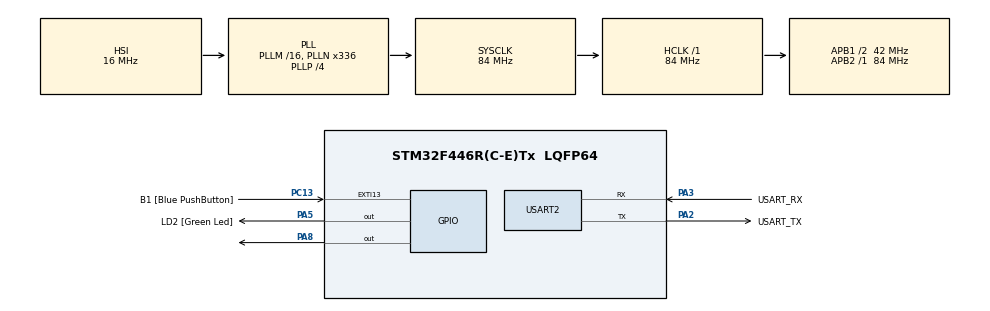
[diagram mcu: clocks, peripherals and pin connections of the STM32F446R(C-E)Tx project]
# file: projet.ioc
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Mcu.Family=STM32F4
Mcu.Name=STM32F446R(C-E)Tx
Mcu.Package=LQFP64
NVIC.PriorityGroup=NVIC_PRIORITYGROUP_0
PA13.GPIO_Label=TMS
PA13.Mode=Serial_Wire
PA13.Signal=SYS_JTMS-SWDIO
PA14.GPIO_Label=TCK
PA14.Mode=Serial_Wire
PA14.Signal=SYS_JTCK-SWCLK
PA2.GPIO_Label=USART_TX
PA2.Mode=Asynchronous
PA2.Signal=USART2_TX
PA3.GPIO_Label=USART_RX
PA3.Mode=Asynchronous
PA3.Signal=USART2_RX
PA5.GPIO_Label=LD2 [Green Led]
PA5.Signal=GPIO_Output
PA8.Signal=GPIO_Output
PB3.GPIO_Label=SWO
PB3.Signal=SYS_JTDO-SWO
PC13.GPIO_Label=B1 [Blue PushButton]
PC13.GPIO_ModeDefaultEXTI=GPIO_MODE_IT_FALLING
PC13.Signal=GPXTI13
PC14-OSC32_IN.Mode=LSE-External-Oscillator
PC14-OSC32_IN.Signal=RCC_OSC32_IN
PC15-OSC32_OUT.Mode=LSE-External-Oscillator
PC15-OSC32_OUT.Signal=RCC_OSC32_OUT
PH0-OSC_IN.Mode=HSE-External-Oscillator
PH0-OSC_IN.Signal=RCC_OSC_IN
PH1-OSC_OUT.Mode=HSE-External-Oscillator
PH1-OSC_OUT.Signal=RCC_OSC_OUT
ProjectManager.HeapSize=0x200
ProjectManager.StackSize=0x400
ProjectManager.TargetToolchain=STM32CubeIDE
RCC.48MHZClocksFreq_Value=84000000
RCC.AHBFreq_Value=84000000
RCC.APB1CLKDivider=RCC_HCLK_DIV2
RCC.APB1Freq_Value=42000000
RCC.APB1TimFreq_Value=84000000
RCC.APB2Freq_Value=84000000
RCC.APB2TimFreq_Value=84000000
RCC.CortexFreq_Value=84000000
RCC.FLatency-AdvancedSettings=FLASH_LATENCY_2
RCC.HCLKFreq_Value=84000000
RCC.HSE_VALUE=8000000
RCC.HSI_VALUE=16000000
RCC.PLLN=336
RCC.PLLP=RCC_PLLP_DIV4
RCC.SYSCLKFreq_VALUE=84000000
RCC.SYSCLKSource=RCC_SYSCLKSOURCE_PLLCLK
RCC.USBFreq_Value=168000000
RCC.VCOOutputFreq_Value=336000000
USART2.VirtualMode=VM_ASYNC
board=NUCLEO-F446RE

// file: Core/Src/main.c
/* USER CODE BEGIN Header */
/**
  ******************************************************************************
  * @file           : main.c
  * @brief          : Main program body
  ******************************************************************************
  * @attention
  *
  * Copyright (c) 2024 STMicroelectronics.
  * All rights reserved.
  *
  * This software is licensed under terms that can be found in the LICENSE file
  * in the root directory of this software component.
  * If no LICENSE file comes with this software, it is provided AS-IS.
  *
  ******************************************************************************
  */
/* USER CODE END Header */
#include "main.h"
#include "ctype.h"

UART_HandleTypeDef huart2;

void SystemClock_Config(void);
static void MX_GPIO_Init(void);
static void MX_USART2_UART_Init(void);
/* USER CODE BEGIN PFP */
#ifdef __GNUC__
/* With GCC/RAISONANCE, small printf (option LD Linker->Libraries->Small printf
set to 'Yes') calls __io_putchar() */
#define PUTCHAR_PROTOTYPE int __io_putchar(int ch)
#else
#define PUTCHAR_PROTOTYPE int fputc(int ch, FILE *f)
#endif /* __GNUC__ */

PUTCHAR_PROTOTYPE {
    /* Place your implementation of fputc here */
    /* e.g. write a character to the USART2 and Loop until the end of transmission */
    HAL_UART_Transmit(&huart2, (uint8_t *)&ch, 1, 0xFFFF);
    return ch;
}

void receiveString(char *buffer, int maxLength, char escapeChar) {
    int index = 0;
    char receivedChar;

    do {
        HAL_UART_Receive(&huart2, (uint8_t *)&receivedChar, 1, HAL_MAX_DELAY);

        buffer[index] = receivedChar;
        index++;
    } while (receivedChar != escapeChar && index < maxLength - 1); // -1 pour réserver de la place pour le caractère nul

    buffer[index] = '\0'; // Ajoute le caractère nul à la fin de la chaîne
}
/* USER CODE END PFP */

// Assuming max length of received string is 100 characters
const char *char_sounds[] = {
    "._",    // A
    "_...",  // B
    "_._.",  // C
    "_..",   // D
    ".",     // E
    ".._.",  // F
    "__.",   // G
    "....",  // H
    "..",    // I
    ".___",  // J
    "_._",   // K
    "._..",  // L
    "__",    // M
    "_.",    // N
    "___",   // O
    ".__.",  // P
    "__._",  // Q
    "._.",   // R
    "...",   // S
    "_",     // T
    ".._",   // U
    "..._",  // V
    ".__",   // W
    "_.._",  // X
    "_.__",  // Y
    "__..",  // Z
    " ",     // Espace
    " ",     // Autres caractères
};

int getStringLength(const char *str) {
    int length = 0;
    while (str[length] != '\0') {
        length++;
    }
    return length;
}

void generateMorseSound(char c) {
  // Recherche de l'indice du caractère dans le tableau char_sounds
	c = toupper(c);
  int index = c - 'A';
  if (index >= 0 && index < 26) {
    // Récupération du son correspondant au caractère
    const char *sound = char_sounds[index];

    // Parcours du son caractère par caractère
    for (int i = 0; sound[i] != '\0'; i++) {
      // Génération du son en fonction du caractère
      if (sound[i] == '.') {
        HAL_GPIO_WritePin(GPIOA, GPIO_PIN_8, GPIO_PIN_SET);   // Allume le buzzer
        HAL_Delay(100);   // Durée du son court
        HAL_GPIO_WritePin(GPIOA, GPIO_PIN_8, GPIO_PIN_RESET); // Éteint le buzzer
        HAL_Delay(200);

      } else if (sound[i] == '_') {
        HAL_GPIO_WritePin(GPIOA, GPIO_PIN_8, GPIO_PIN_SET);   // Allume le buzzer
        HAL_Delay(400);   // Durée du son long
        HAL_GPIO_WritePin(GPIOA, GPIO_PIN_8, GPIO_PIN_RESET); // Éteint le buzzer
        HAL_Delay(200);   // Pause entre les sons
//        HAL_UART_Transmit(&huart2, &sound[i], 1, HAL_MAX_DELAY);
      }
    }
  } else if (c == ' ') {
    // Pause entre les mots
    HAL_Delay(900);
  }
}

int main(void)
{

  /* MCU Configuration--------------------------------------------------------*/

  /* Reset of all peripherals, Initializes the Flash interface and the Systick. */
  HAL_Init();

  /* Configure the system clock */
  SystemClock_Config();

  /* Initialize all configured peripherals */
  MX_GPIO_Init();
  MX_USART2_UART_Init();
  HAL_GPIO_TogglePin(GPIOA, GPIO_PIN_8);
  generateMorseSound('c');
  HAL_GPIO_TogglePin(GPIOA, GPIO_PIN_8);
  //test de la fonction scanf
  char receivedString[100];
     int index = 0;
     char receivedChar;

     while (1) {
         if (HAL_UART_Receive(&huart2, (uint8_t *)&receivedChar, 1, HAL_MAX_DELAY) == HAL_OK) {
             if (receivedChar == '\n' || receivedChar == '\r') {
                 // Si un caractère spécial est reçu, c'est la fin du mot ou de la phrase
                 receivedString[index] = '\0'; // Ajouter le caractère nul à la fin de la chaîne
                 for (int i = 0; receivedString[i] != '\0'; i++) {
                     generateMorseSound(receivedString[i]);
                     HAL_UART_Transmit(&huart2, (uint8_t *)&receivedString[i], 1, HAL_MAX_DELAY);
                     HAL_GPIO_TogglePin(GPIOA, GPIO_PIN_8);
                 }
//                 HAL_Delay(900); // Pause entre les mots
                 index = 0; // Réinitialiser l'index pour le prochain mot
             } else {
                 // Sinon, accumuler le caractère dans le tableau
                 receivedString[index++] = receivedChar;
                 // Vérifier si le tableau est plein
                 if (index >= sizeof(receivedString) - 1) {
                     receivedString[index] = '\0'; // Ajouter le caractère nul à la fin de la chaîne
                     // Traiter le mot accumulé
                     for (int i = 0; receivedString[i] != '\0'; i++) {
                         generateMorseSound(receivedString[i]);
                         HAL_UART_Transmit(&huart2, (uint8_t *)&receivedString[i], 1, HAL_MAX_DELAY);
                         HAL_GPIO_TogglePin(GPIOA, GPIO_PIN_8);
                     }
                     HAL_Delay(600); // Pause entre les mots
                     index = 0; // Réinitialiser l'index pour le prochain mot
                 }
             }
         }
         HAL_GPIO_TogglePin(GPIOA, GPIO_PIN_8);
     }

//	char receivedString[100];
//	// Choisir la taille appropriée
//	    while (1) {
//	    	receiveString(receivedString, sizeof(receivedString), '\0');
//	    	        int length = getStringLength(receivedString);
//	    	        for (int i = 0; i < length; i++) {
//	    	            generateMorseSound(receivedString[i]);
//	    	            HAL_UART_Transmit(&huart2, (uint8_t *)&receivedString[i],1, 0xFFFF);
//	    	            HAL_GPIO_TogglePin(GPIOA, GPIO_PIN_8);
//	    	        }
//	    }

//  char receivedMessage[] = "salut";

  /* USER CODE END 2 */

  /* USER CODE BEGIN 2 */

  /* Infinite loop */

  /* USER CODE BEGIN WHILE */

//  HAL_GPIO_WritePin(GPIOA, GPIO_PIN_8, 1);
//HAL_GPIO_TogglePin(GPIOA, GPIO_PIN_8);

while (1){

//	if (HAL_UART_Receive(&huart2, (uint8_t *)receivedMessage, sizeof(receivedMessage), HAL_MAX_DELAY) == HAL_OK) {
//	      // Traitement du message reçu
//	      // ...
//
//	const char *message = "Hello WORLD";  // Message à convertir en code Morse

	    // Parcours du message caractère par caractère
//	    for (int i = 0; message[i] != '\0'; i++) {
//	      generateMorseSound(message[i]);
//	    }
	//	HAL_Delay(1000);
	//  HAL_GPIO_TogglePin(GPIOA, GPIO_PIN_8);
	//  HAL_GPIO_WritePin(GPIOA, GPIO_PIN_8, 0);
//	      // Parcours du message caractère par caractère
//	      for (int i = 0; receivedMessage[i] != '\0'; i++) {
//	        generateMorseSound(receivedMessage[i]);
//	      }
	    }
//	  }
//    const char *message = "HELLO WORLD";  // Message à convertir en code Morse
//
//    // Parcours du message caractère par caractère
//    for (int i = 0; message[i] != '\0'; i++) {
//      generateMorseSound(message[i]);
//    }
//	HAL_Delay(1000);
//  HAL_GPIO_TogglePin(GPIOA, GPIO_PIN_8);
//  HAL_GPIO_WritePin(GPIOA, GPIO_PIN_8, 0);
}
   /* USER CODE END WHILE */

void SystemClock_Config(void)
{
  RCC_OscInitTypeDef RCC_OscInitStruct = {0};
  RCC_ClkInitTypeDef RCC_ClkInitStruct = {0};

  /** Configure the main internal regulator output voltage
  */
  __HAL_RCC_PWR_CLK_ENABLE();
  __HAL_PWR_VOLTAGESCALING_CONFIG(PWR_REGULATOR_VOLTAGE_SCALE3);

  /** Initializes the RCC Oscillators according to the specified parameters
  * in the RCC_OscInitTypeDef structure.
  */
  RCC_OscInitStruct.OscillatorType = RCC_OSCILLATORTYPE_HSI;
  RCC_OscInitStruct.HSIState = RCC_HSI_ON;
  RCC_OscInitStruct.HSICalibrationValue = RCC_HSICALIBRATION_DEFAULT;
  RCC_OscInitStruct.PLL.PLLState = RCC_PLL_ON;
  RCC_OscInitStruct.PLL.PLLSource = RCC_PLLSOURCE_HSI;
  RCC_OscInitStruct.PLL.PLLM = 16;
  RCC_OscInitStruct.PLL.PLLN = 336;
  RCC_OscInitStruct.PLL.PLLP = RCC_PLLP_DIV4;
  RCC_OscInitStruct.PLL.PLLQ = 2;
  RCC_OscInitStruct.PLL.PLLR = 2;
  if (HAL_RCC_OscConfig(&RCC_OscInitStruct) != HAL_OK)
  {
    Error_Handler();
  }

  /** Initializes the CPU, AHB and APB buses clocks
  */
  RCC_ClkInitStruct.ClockType = RCC_CLOCKTYPE_HCLK|RCC_CLOCKTYPE_SYSCLK
                              |RCC_CLOCKTYPE_PCLK1|RCC_CLOCKTYPE_PCLK2;
  RCC_ClkInitStruct.SYSCLKSource = RCC_SYSCLKSOURCE_PLLCLK;
  RCC_ClkInitStruct.AHBCLKDivider = RCC_SYSCLK_DIV1;
  RCC_ClkInitStruct.APB1CLKDivider = RCC_HCLK_DIV2;
  RCC_ClkInitStruct.APB2CLKDivider = RCC_HCLK_DIV1;

  if (HAL_RCC_ClockConfig(&RCC_ClkInitStruct, FLASH_LATENCY_2) != HAL_OK)
  {
    Error_Handler();
  }
}

static void MX_USART2_UART_Init(void)
{

  huart2.Instance = USART2;
  huart2.Init.BaudRate = 115200;
  huart2.Init.WordLength = UART_WORDLENGTH_8B;
  huart2.Init.StopBits = UART_STOPBITS_1;
  huart2.Init.Parity = UART_PARITY_NONE;
  huart2.Init.Mode = UART_MODE_TX_RX;
  huart2.Init.HwFlowCtl = UART_HWCONTROL_NONE;
  huart2.Init.OverSampling = UART_OVERSAMPLING_16;
  if (HAL_UART_Init(&huart2) != HAL_OK)
  {
    Error_Handler();
  }

}

static void MX_GPIO_Init(void)
{
  GPIO_InitTypeDef GPIO_InitStruct = {0};

  /* GPIO Ports Clock Enable */
  __HAL_RCC_GPIOC_CLK_ENABLE();
  __HAL_RCC_GPIOH_CLK_ENABLE();
  __HAL_RCC_GPIOA_CLK_ENABLE();
  __HAL_RCC_GPIOB_CLK_ENABLE();

  /*Configure GPIO pin Output Level */
  HAL_GPIO_WritePin(GPIOA, LD2_Pin|GPIO_PIN_8, GPIO_PIN_RESET);

  /*Configure GPIO pin : B1_Pin */
  GPIO_InitStruct.Pin = B1_Pin;
  GPIO_InitStruct.Mode = GPIO_MODE_IT_FALLING;
  GPIO_InitStruct.Pull = GPIO_NOPULL;
  HAL_GPIO_Init(B1_GPIO_Port, &GPIO_InitStruct);

  /*Configure GPIO pins : LD2_Pin PA8 */
  GPIO_InitStruct.Pin = LD2_Pin|GPIO_PIN_8;
  GPIO_InitStruct.Mode = GPIO_MODE_OUTPUT_OD;
  GPIO_InitStruct.Pull = GPIO_NOPULL;
  GPIO_InitStruct.Speed = GPIO_SPEED_FREQ_LOW;
  HAL_GPIO_Init(GPIOA, &GPIO_InitStruct);

}

void Error_Handler(void)
{
  __disable_irq();
  while (1)
  {
  }
}
